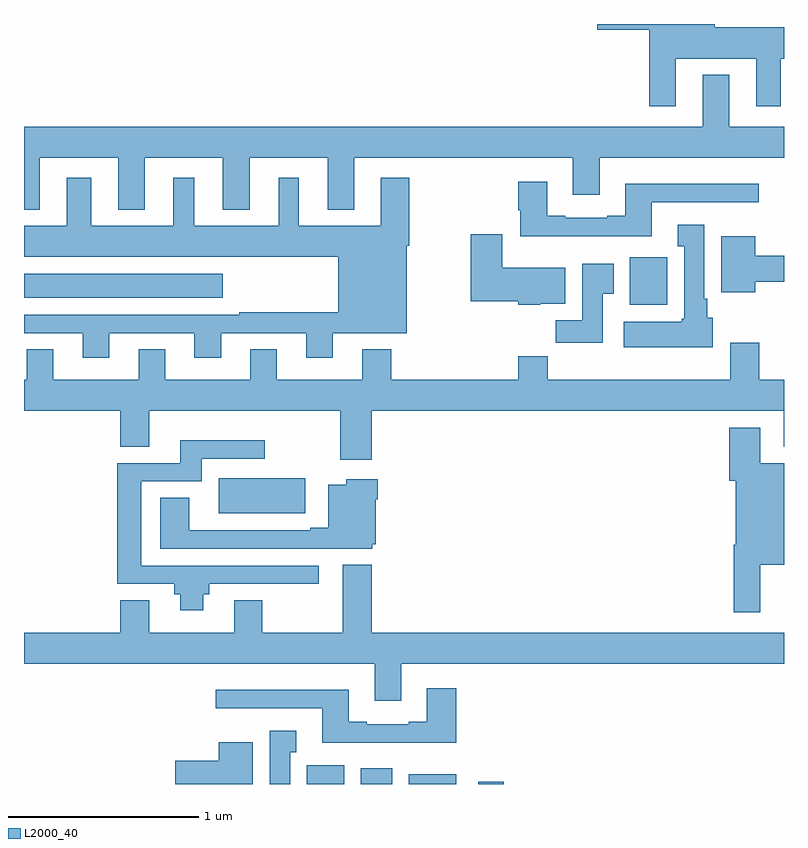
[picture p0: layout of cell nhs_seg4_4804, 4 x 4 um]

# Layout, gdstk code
import gdstk
lib = gdstk.Library(unit=1e-6, precision=1e-09)
def R(c, l, rs):  # rectangles x0, y0, x1, y1
    for r in rs: c.add(gdstk.rectangle(r[:2], r[2:], *l))
def P(c, l, *ps):  # polygons
    for p in ps: c.add(gdstk.Polygon(p, *l))
L2000_40 = (2000, 40)

nhs_seg4_4804 = lib.new_cell('nhs_seg4_4804')
R(nhs_seg4_4804, L2000_40, [(372.488,750.9,372.685,751), (372.773,750.9,372.937,750.982), (373.025,750.9,373.276,750.952), (373.392,750.9,373.525,750.911), (374.189,753.422,374.385,753.673), (371,753.458,372.046,753.586)])
P(nhs_seg4_4804, L2000_40, [(374.431,754.718),(374.855,754.718),(374.855,754.467),(374.983,754.467),(374.983,754.718),(375,754.718),(375,754.882),(374.635,754.882),(374.635,754.9),(374.016,754.9),(374.016,754.871),(374.291,754.871),(374.291,754.467),(374.431,754.467)],
  [(371.083,754.196),(371.495,754.196),(371.495,753.923),(371.635,753.923),(371.635,754.196),(372.047,754.196),(372.047,753.923),(372.187,753.923),(372.187,754.196),(372.599,754.196),(372.599,753.923),(372.739,753.923),(372.739,754.196),(373.889,754.196),(373.889,754.002),(374.029,754.002),(374.029,754.196),(375,754.196),(375,754.36),(374.713,754.36),(374.713,754.633),(374.573,754.633),(374.573,754.36),(371,754.36),(371,753.923),(371.083,753.923)],
  [(371.449,753.273),(371.897,753.273),(371.897,753.144),(372.037,753.144),(372.037,753.273),(372.485,753.273),(372.485,753.144),(372.625,753.144),(372.625,753.272),(373.015,753.272),(373.015,753.734),(373.028,753.734),(373.028,754.09),(372.878,754.09),(372.878,753.838),(372.445,753.838),(372.445,754.09),(372.341,754.09),(372.341,753.838),(371.896,753.838),(371.896,754.09),(371.786,754.09),(371.786,753.838),(371.353,753.838),(371.353,754.09),(371.225,754.09),(371.225,753.838),(371,753.838),(371,753.674),(372.653,753.674),(372.653,753.382),(372.133,753.382),(372.133,753.369),(371,753.369),(371,753.273),(371.309,753.273),(371.309,753.144),(371.449,753.144)],
  [(374.305,753.963),(374.866,753.963),(374.866,754.06),(374.165,754.06),(374.165,753.892),(374.069,753.892),(374.069,753.879),(373.849,753.879),(373.849,753.892),(373.753,753.892),(373.753,754.069),(373.601,754.069),(373.601,753.921),(373.613,753.921),(373.613,753.782),(374.305,753.782)],
  [(374.626,753.354),(374.596,753.354),(374.596,753.454),(374.581,753.454),(374.581,753.844),(374.441,753.844),(374.441,753.731),(374.474,753.731),(374.474,753.348),(374.461,753.348),(374.461,753.334),(374.157,753.334),(374.157,753.2),(374.626,753.2)],
  [(373.716,753.428),(373.849,753.428),(373.849,753.616),(373.516,753.616),(373.516,753.793),(373.351,753.793),(373.351,753.44),(373.602,753.44),(373.602,753.422),(373.716,753.422)],
  [(374.848,753.544),(375,753.544),(375,753.68),(374.848,753.68),(374.848,753.784),(374.669,753.784),(374.669,753.488),(374.848,753.488)],
  [(374.047,753.481),(374.104,753.481),(374.104,753.637),(373.937,753.637),(373.937,753.34),(373.798,753.34),(373.798,753.222),(374.047,753.222)],
  [(374.717,753.223),(374.717,753.028),(373.757,753.028),(373.757,753.152),(373.601,753.152),(373.601,753.028),(372.932,753.028),(372.932,753.187),(372.779,753.187),(372.779,753.028),(372.331,753.028),(372.331,753.188),(372.191,753.188),(372.191,753.028),(371.743,753.028),(371.743,753.188),(371.603,753.188),(371.603,753.028),(371.155,753.028),(371.155,753.188),(371.015,753.188),(371.015,753.028),(371,753.028),(371,752.864),(371.507,752.864),(371.507,752.674),(371.659,752.674),(371.659,752.864),(372.665,752.864),(372.665,752.607),(372.83,752.607),(372.83,752.864),(374.999,752.864),(374.999,752.674),(375,752.674),(375,753.028),(374.87,753.028),(374.87,753.223)],
  [(374.875,752.054),(375,752.054),(375,752.589),(374.875,752.589),(374.875,752.776),(374.711,752.776),(374.711,752.496),(374.747,752.496),(374.747,752.158),(374.735,752.158),(374.735,751.803),(374.875,751.803)],
  [(371.944,751.899),(371.975,751.899),(371.975,751.953),(372.55,751.953),(372.55,752.049),(371.617,752.049),(371.617,752.493),(371.935,752.493),(371.935,752.613),(372.268,752.613),(372.268,752.71),(371.822,752.71),(371.822,752.589),(371.492,752.589),(371.492,751.953),(371.792,751.953),(371.792,751.899),(371.822,751.899),(371.822,751.814),(371.944,751.814)],
  [(372.377,752.325),(372.48,752.325),(372.48,752.509),(372.026,752.509),(372.026,752.324),(372.377,752.324)],
  [(372.834,752.163),(372.85,752.163),(372.85,752.399),(372.863,752.399),(372.863,752.503),(372.696,752.503),(372.696,752.476),(372.602,752.476),(372.602,752.249),(372.506,752.249),(372.506,752.235),(371.869,752.235),(371.869,752.407),(371.717,752.407),(371.717,752.139),(372.834,752.139)],
  [(372.985,751.532),(375,751.532),(375,751.696),(372.83,751.696),(372.83,752.053),(372.677,752.053),(372.677,751.696),(372.255,751.696),(372.255,751.868),(372.107,751.868),(372.107,751.696),(371.659,751.696),(371.659,751.868),(371.507,751.868),(371.507,751.696),(371,751.696),(371,751.532),(372.845,751.532),(372.845,751.338),(372.985,751.338)],
  [(373.274,751.405),(373.121,751.405),(373.121,751.228),(373.025,751.228),(373.025,751.215),(372.805,751.215),(372.805,751.228),(372.709,751.228),(372.709,751.396),(372.009,751.396),(372.009,751.299),(372.569,751.299),(372.569,751.118),(373.274,751.118)],
  [(372.4,751.067),(372.433,751.067),(372.433,751.18),(372.293,751.18),(372.293,750.9),(372.4,750.9)],
  [(372.205,751.12),(372.026,751.12),(372.026,751.022),(371.796,751.022),(371.796,750.9),(372.205,750.9)])

lib.write_gds('nhs_seg4_4804.gds')
